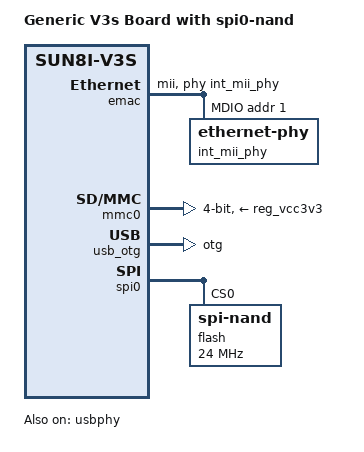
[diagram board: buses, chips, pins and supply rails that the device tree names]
/dts-v1/;
#include "sun8i-v3s.dtsi"
#include "sunxi-common-regulators.dtsi"
#include <dt-bindings/input/input.h>
/ {
	model = "Generic V3s Board with spi0-nand";
	compatible = "allwinner,sun8i-v3s";

	aliases {
		serial0 = &uart0;
		spi0 = &spi0;
	};

	chosen {
		stdout-path = "serial0:115200n8";
	};
	
	
	soc {
		syscon: syscon@1c00000 {
			compatible = "allwinner,sun8i-v3s-system-controller",
			"syscon";
			reg = <0x01c00000 0x1000>;
		};


		emac: ethernet@1c30000 {
			compatible = "allwinner,sun8i-v3s-emac";
			syscon = <&syscon>;
			reg = <0x01c30000 0x104>;
			interrupts = <GIC_SPI 82 IRQ_TYPE_LEVEL_HIGH>;
			interrupt-names = "macirq";
			resets = <&ccu RST_BUS_EMAC>;
			reset-names = "stmmaceth";
			clocks = <&ccu CLK_BUS_EMAC>;
			clock-names = "stmmaceth";
			#address-cells = <1>;
			#size-cells = <0>;
			phy-handle = <&int_mii_phy>;
			phy-mode = "mii";
			status = "okay";
			allwinner,leds-active-low;
			
			mdio: mdio {
				#address-cells = <1>;
				#size-cells = <0>;
				compatible = "snps,dwmac-mdio";
			};

			mdio-mux {
				compatible = "mdio-mux", "allwinner,sun8i-h3-mdio-mux";
				#address-cells = <1>;
				#size-cells = <0>;

				mdio-parent-bus = <&mdio>;

				int_mdio: mdio@1 {
					compatible = "allwinner,sun8i-h3-mdio-internal";
					reg = <1>;
					#address-cells = <1>;
					#size-cells = <0>;
					
					int_mii_phy: ethernet-phy@1 {
						reg = <1>;
						clocks = <&ccu CLK_BUS_EPHY>;
						resets = <&ccu RST_BUS_EPHY>;
						phy-is-integrated;
					};
				};
			};
		};
	};
};

&mmc0 {
	pinctrl-0 = <&mmc0_pins_a>;
	pinctrl-names = "default";
	broken-cd;
	bus-width = <4>;
	vmmc-supply = <&reg_vcc3v3>;
	status = "okay";
};

&usb_otg {
	dr_mode = "otg"; /* host, periphal, otg */
	status = "okay";
};

&usbphy {
	/* pinctrl-0 = <&usb0_id_detect_pin>; */
	usb0_id_det-gpio = <&pio 5 6 GPIO_ACTIVE_LOW>;
	status = "okay";
};

/**
&uart2 {
	pinctrl-0 = <&uart2_pins>;
	pinctrl-names = "default";
	status = "okay";
};
/**/

&spi0 {
    pinctrl-names = "default";
    pinctrl-0 = <&spi0_pins>;
    status = "okay";

	flash: spinand@0 {
		#address-cells = <1>;
		#size-cells = <1>;
		compatible = "spi-nand";
		reg = <0>;
		spi-max-frequency = <24000000>;
	};
};

/*
&pio {
	uart2_pins: uart2@2 {
		pins = "PB0", "PB1";
		function = "uart2";
	};
};
*/
